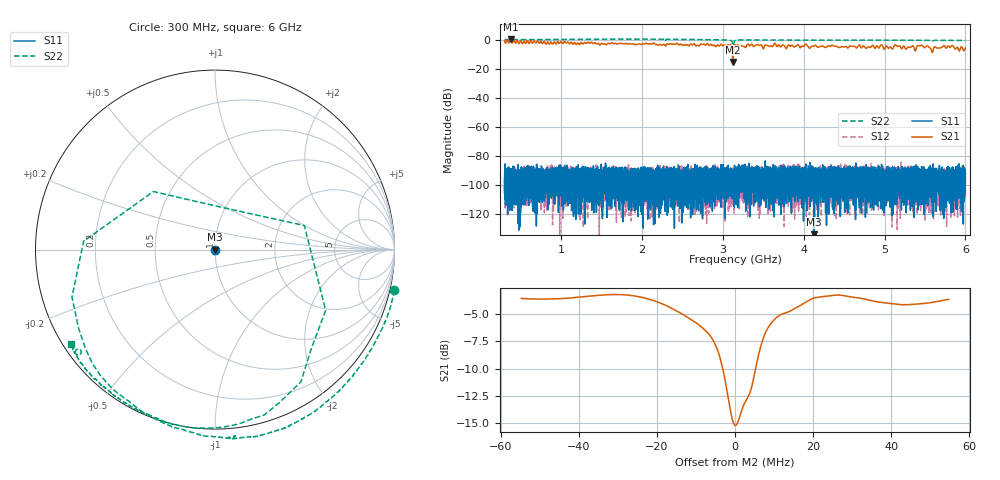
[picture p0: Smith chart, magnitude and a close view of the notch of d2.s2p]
!Agilent Technologies,N5230C,SG49000117,A.08.50.07
!Agilent N5230C: A.08.50.07
!Date: Sunday, March 17, 2024 01:18:33
!Correction: S11(Off)
!S21(Off)
!S12(Off)
!S22(Full 1 Port(2))
!S2P File: Measurements: S11, S21, S12, S22:
# Hz S  RI  R 50
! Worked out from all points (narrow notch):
!   20001 points, 300 MHz to 6 GHz, reference 50 ohm
!   highest |S21| = 0.45 dB at 373.8 MHz (marker M1); lowest = -15.2 dB at 3.123 GHz (marker M2)
!   notch at M2: 11.6 dB deep, 9.14 MHz wide at half that depth
!   lowest |S11| = -134.0 dB at 4.126 GHz (marker M3), VSWR 1.00, Z = 50 + j1.01e-05 ohm
!   |S11| at or under -10 dB: start of sweep to end of sweep
!   |S22| runs from -12.5 to 0.6 dB; largest |S21 - S12| = 1.1
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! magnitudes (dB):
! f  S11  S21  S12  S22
! 300 MHz  -97.7  -1.0  -104.0  0.2
! 373.8 MHz  -93.1  0.4  -96.6  0.2
! 1.25 GHz  -92.5  -1.8  -93.3  0.4
! 2.2 GHz  -97.5  -3.7  -92.4  0.5
! 3.076 GHz  -104.3  -3.6  -101.1  -0.2
! 3.123 GHz  -93.9  -15.2  -94.1  -5.7
! 3.15 GHz  -92.2  -3.3  -97.3  -0.3
! 3.161 GHz  -96.1  -4.0  -97.7  -0.1
! 3.19 GHz  -100.2  -3.4  -89.0  0.0
! 3.642 GHz  -94.7  -2.3  -93.0  -0.1
! 3.779 GHz  -93.0  -5.7  -95.4  -0.1
! 4.025 GHz  -103.6  -2.8  -94.4  -0.1
! 4.1 GHz  -99.2  -4.3  -92.0  -0.1
! 4.126 GHz  -134.0  -4.3  -90.7  -0.1
! 5.05 GHz  -99.4  -5.8  -97.3  -0.2
! 5.146 GHz  -89.3  -3.8  -100.1  -0.2
! 5.382 GHz  -96.3  -7.5  -99.3  -0.2
! 5.439 GHz  -90.6  -3.9  -94.1  -0.2
! 5.541 GHz  -99.7  -4.5  -93.4  -0.3
! 5.581 GHz  -96.7  -7.6  -94.9  -0.3
! 5.724 GHz  -103.7  -4.3  -113.8  -0.3
! 6 GHz  -91.9  -5.6  -104.0  -0.3
